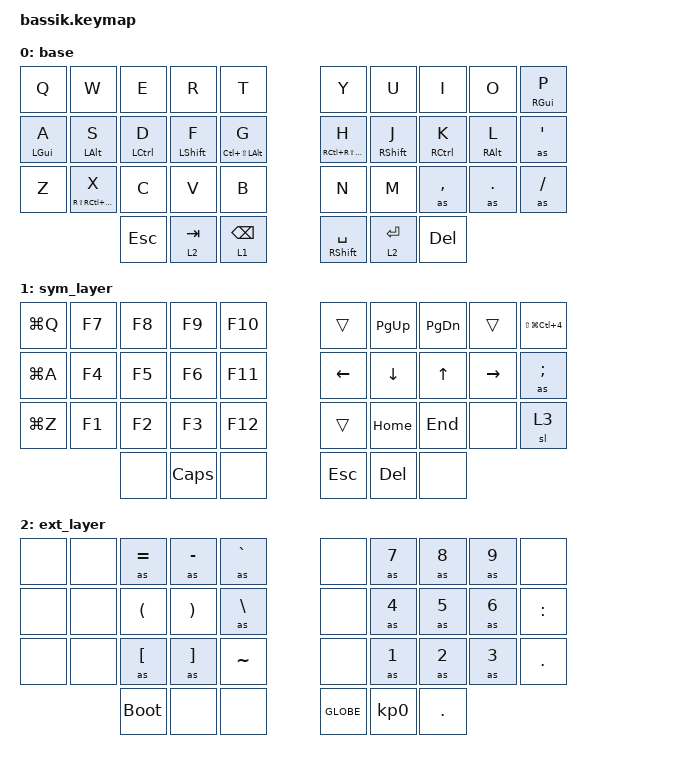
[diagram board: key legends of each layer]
/*
 * Copyright (c) 2020 The ZMK Contributors
 *
 * SPDX-License-Identifier: MIT
 */

#include <behaviors.dtsi>
#include <dt-bindings/zmk/keys.h>
#include <dt-bindings/zmk/bt.h>
#include <dt-bindings/zmk/outputs.h>

&sk {
    // don't release mods on other mods presses

    ignore-modifiers;
};

/ {
    behaviors {
        qt: quick_tap {
                compatible = "zmk,behavior-hold-tap";
                #binding-cells = <2>;
                flavor = "tap-preferred";
                require-prior-idle-ms = <50>;
                tapping-term-ms = <200>;
                quick-tap-ms = <200>;
                bindings = <&kp>, <&kp>;
            };
            as_ht: autoshift_hold_tap {
                compatible = "zmk,behavior-hold-tap";
                #binding-cells = <2>;
                tapping-term-ms = <200>;
                bindings = <&shifted>, <&kp>;
                flavor = "tap-preferred";
            };

        macros {
                // sometimes my device thinks a modifier is being held down
                // pressing all modifiers fixes it.

                unstick: unstick {
                compatible = "zmk,behavior-macro";
                #binding-cells = <0>;
                bindings = <&kp LSHIFT &kp RSHIFT &kp LCTRL &kp RCTRL &kp LALT &kp RALT &kp LGUI &kp RGUI>;
                };

                shifted: macro_shifted_kp {
                    #binding-cells = <1>;
                    compatible = "zmk,behavior-macro-one-param";
                    bindings =
                    <&macro_press &kp LSHFT>,
                    <&macro_param_1to1 &macro_tap &kp MACRO_PLACEHOLDER>,
                    <&macro_release &kp LSHFT>;
                };
                as: autoshift {
                    compatible = "zmk,behavior-macro-one-param";
                    #binding-cells = <1>;
                    bindings =
                    <&macro_press>,
                    <&macro_param_1to1>,
                    <&macro_param_1to2>,
                    <&as_ht MACRO_PLACEHOLDER MACRO_PLACEHOLDER>,
                    <&macro_pause_for_release>,
                    <&macro_release>,
                    <&macro_param_1to1>,
                    <&macro_param_1to2>,
                    <&as_ht MACRO_PLACEHOLDER MACRO_PLACEHOLDER>;
                };
        };

        combos {
                compatible = "zmk,combos";
                combo_esc {
                    timeout-ms = <50>;
                    key-positions = <0 1>;
                    bindings = <&kp ESC>;
                };
                combo_del {
                    timeout-ms = <50>;
                    key-positions = <8 9>;
                    bindings = <&kp DEL>;
                };
                combo_reset {
                    timeout-ms = <50>;
                    key-positions = <0 9>;
                    layers = <2>;
                    bindings = <&sys_reset>;
                };
                combo_boot {
                    timeout-ms = <50>;
                    key-positions = <5 20>;
                    layers = <2>;
                    bindings = <&bootloader>;
                };
                combo_minus {
                    key-positions = <1 2>;
                    bindings = <&as MINUS>;
                };
                combo_equals {
                    key-positions = <2 3>;
                    bindings = <&as EQUAL>;
                };
                combo_tilde {
                    key-positions = <23 24>;
                    bindings = <&kp TILDE>;
                };
                combo_under {
                    key-positions = <10 11>;
                    bindings = <&kp UNDERSCORE>;
                };
                combo_lpar {
                    key-positions = <11 12>;
                    bindings = <&kp LPAR>;
                };
                combo_rpar {
                    key-positions = <12 13>;
                    bindings = <&kp RPAR>;
                };
                combo_bslsh {
                    key-positions = <13 14>;
                    bindings = <&as BSLH>;
                };
                combo_lbkt {
                    key-positions = <21 22>;
                    bindings = <&as LBKT>;
                };
                combo_rbkt {
                    key-positions = <22 23>;
                    bindings = <&as RBKT>;
                };
                combo_grave {
                    key-positions = <3 4>;
                    bindings = <&as GRAVE>;
                };
                combo_semi {
                    key-positions = <18 19>;
                    bindings = <&as SEMICOLON>;
                };
                combo_colon {
                    key-positions = <7 8>;
                    bindings = <&as SEMICOLON>;
                };
                combo_amper {
                    key-positions = <5 6>;
                    bindings = <&kp AMPERSAND>;
                };
                combo_aster {
                    key-positions = <6 7>;
                    bindings = <&kp ASTERISK>;
                };
                combo_dollar {
                    key-positions = <15 16>;
                    bindings = <&kp DOLLAR>;
                };
                combo_percent {
                    key-positions = <16 17>;
                    bindings = <&kp PERCENT>;
                };
                combo_caret {
                    key-positions = <17 18>;
                    bindings = <&kp CARET>;
                };
                combo_bang {
                    key-positions = <25 26>;
                    bindings = <&kp EXCL>;
                };
                combo_at {
                    key-positions = <26 27>;
                    bindings = <&kp AT>;
                };
                combo_num {
                    key-positions = <27 28>;
                    bindings = <&kp HASH>;
                };
            };
        };

    keymap {
        compatible = "zmk,keymap";

        base {
            bindings = <
            &kp Q  &kp W  &kp E  &kp R  &kp T  &kp Y   &kp U  &kp I  &kp O  &qt RIGHT_GUI  P
            &qt LEFT_GUI A    &qt LEFT_ALT S    &qt LEFT_CONTROL D    &qt LEFT_SHIFT F    &qt LC(LS(LALT)) G &qt RC(RS(RALT)) H          &qt RIGHT_SHIFT J    &qt RIGHT_CONTROL K    &qt RIGHT_ALT L   &as SINGLE_QUOTE
            &kp Z    &qt RS(RC(RA(RGUI))) X             &kp C            &kp V                 &kp B              &kp N          &kp M        &as COMMA  &as DOT    &as FSLH
            &kp ESCAPE &lt 2 TAB &lt 1 BACKSPACE   &qt RIGHT_SHIFT SPACE    &lt 2 ENTER &kp DEL 
            >;
        };

        sym_layer {
            bindings = <
 &kp LG(Q)  &kp F7 &kp F8 &kp F9 &kp F10    &trans    &kp PG_UP   &kp PG_DN  &trans    &kp LS(LG(LC(NUMBER_4))) 
 &kp LG(A)  &kp F4 &kp F5 &kp F6 &kp F11    &kp LEFT  &kp DOWN    &kp UP     &kp RIGHT &as SEMICOLON 
 &kp LG(Z)  &kp F1 &kp F2 &kp F3 &kp F12    &trans    &kp HOME    &kp END    &none     &sl 3 
            &none &kp CAPSLOCK &none &kp ESCAPE &kp DEL  &none           
            >;
        };

        // Main modifiers and arrow keys

        ext_layer {
            bindings = <
 &none    &none    &as EQUAL  &as MINUS &as GRAVE  &none     &as N7    &as N8    &as N9    &none   
 &none    &none    &kp LPAR   &kp RPAR  &as BSLH   &none     &as N4    &as N5    &as N6    &kp COLON 
 &none    &none    &as LBKT   &as RBKT  &kp TILDE  &none     &as N1    &as N2    &as N3    &kp DOT 
          &bootloader  &none &none    &kp GLOBE    &kp KP_N0 &kp DOT                
            >;
        };
    };
};
